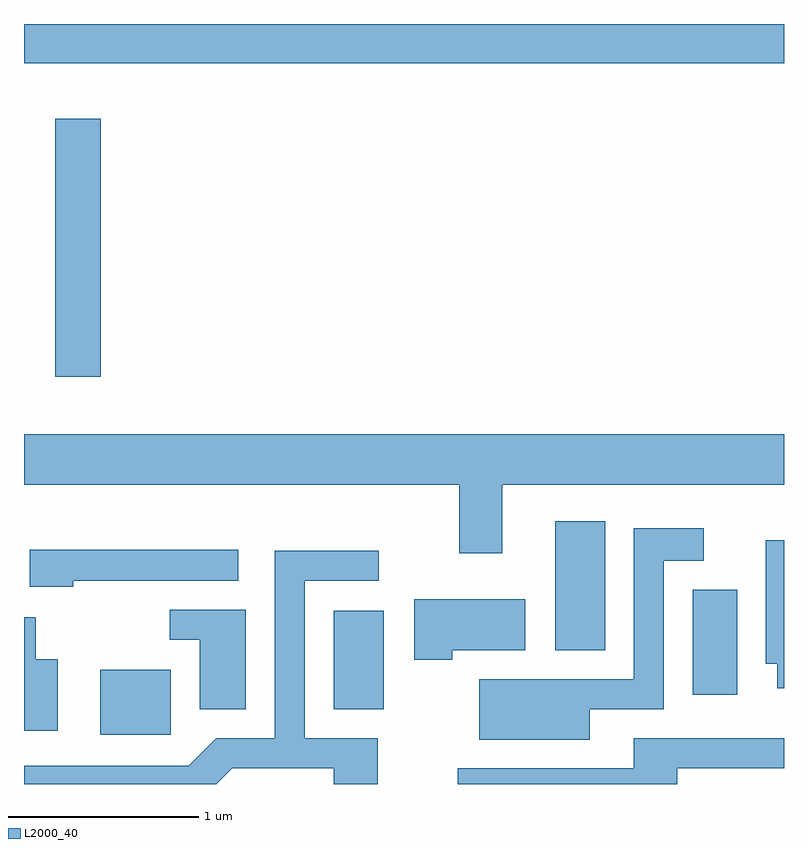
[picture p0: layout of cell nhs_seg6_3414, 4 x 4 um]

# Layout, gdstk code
import gdstk
lib = gdstk.Library(unit=1e-6, precision=1e-09)
def R(c, l, rs):  # rectangles x0, y0, x1, y1
    for r in rs: c.add(gdstk.rectangle(r[:2], r[2:], *l))
def P(c, l, *ps):  # polygons
    for p in ps: c.add(gdstk.Polygon(p, *l))
L2000_40 = (2000, 40)

nhs_seg6_3414 = lib.new_cell('nhs_seg6_3414')
R(nhs_seg6_3414, L2000_40, [(288.011,1626.421,288.384,1626.764), (289.241,1626.556,289.504,1627.074), (291.131,1626.631,291.364,1627.184), (290.406,1626.866,290.669,1627.544), (287.776,1628.306,288.014,1629.664), (287.611,1629.956,291.611,1630.162)])
P(nhs_seg6_3414, L2000_40, [(290.129,1627.736),(291.611,1627.736),(291.611,1628.004),(287.611,1628.004),(287.611,1627.736),(289.901,1627.736),(289.901,1627.376),(290.129,1627.376)],
  [(290.589,1626.556),(290.979,1626.556),(290.979,1627.336),(291.189,1627.336),(291.189,1627.509),(290.821,1627.509),(290.821,1626.714),(290.006,1626.714),(290.006,1626.396),(290.589,1626.396)],
  [(291.611,1627.444),(291.516,1627.444),(291.516,1626.796),(291.576,1626.796),(291.576,1626.666),(291.611,1626.666)],
  [(287.869,1627.231),(288.738,1627.231),(288.738,1627.394),(287.641,1627.394),(287.641,1627.201),(287.869,1627.201)],
  [(288.707,1626.246),(289.241,1626.246),(289.241,1626.162),(289.474,1626.162),(289.474,1626.404),(289.089,1626.404),(289.089,1627.231),(289.478,1627.231),(289.478,1627.389),(288.931,1627.389),(288.931,1626.404),(288.624,1626.404),(288.479,1626.259),(287.611,1626.259),(287.611,1626.162),(288.623,1626.162)],
  [(289.864,1626.866),(290.249,1626.866),(290.249,1627.134),(289.666,1627.134),(289.666,1626.816),(289.864,1626.816)],
  [(288.779,1627.079),(288.378,1627.079),(288.378,1626.921),(288.536,1626.921),(288.536,1626.556),(288.779,1626.556)],
  [(287.789,1626.819),(287.674,1626.819),(287.674,1627.039),(287.611,1627.039),(287.611,1626.441),(287.789,1626.441)],
  [(291.049,1626.246),(291.611,1626.246),(291.611,1626.404),(290.821,1626.404),(290.821,1626.244),(289.893,1626.244),(289.893,1626.162),(291.049,1626.162)])

lib.write_gds('nhs_seg6_3414.gds')
